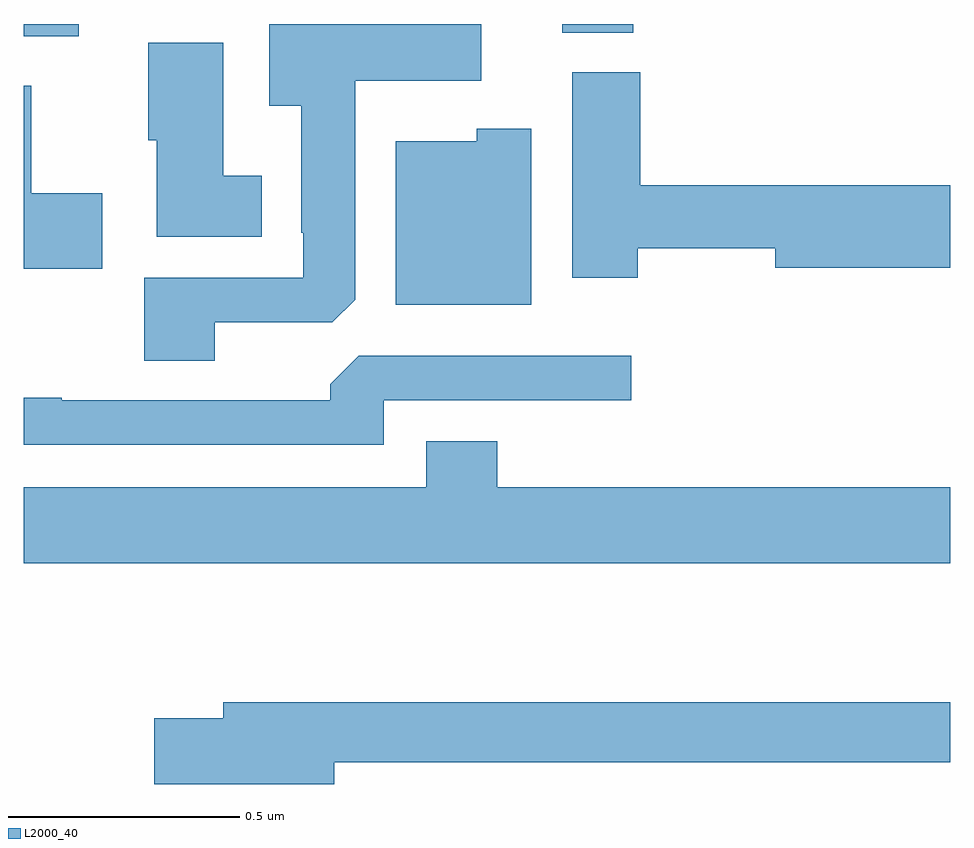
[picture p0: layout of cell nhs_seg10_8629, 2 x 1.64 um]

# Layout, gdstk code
import gdstk
lib = gdstk.Library(unit=1e-6, precision=1e-09)
def R(c, l, rs):  # rectangles x0, y0, x1, y1
    for r in rs: c.add(gdstk.rectangle(r[:2], r[2:], *l))
def P(c, l, *ps):  # polygons
    for p in ps: c.add(gdstk.Polygon(p, *l))
L2000_40 = (2000, 40)

nhs_seg10_8629 = lib.new_cell('nhs_seg10_8629')
R(nhs_seg10_8629, L2000_40, [(219,1281.474,219.118,1281.5), (220.163,1281.481,220.316,1281.5)])
P(nhs_seg10_8629, L2000_40, [(219.412,1280.856),(219.666,1280.856),(219.715,1280.905),(219.715,1281.377),(219.988,1281.377),(219.988,1281.499),(219.715,1281.499),(219.715,1281.5),(219.53,1281.5),(219.53,1281.323),(219.599,1281.323),(219.599,1281.049),(219.603,1281.049),(219.603,1280.952),(219.26,1280.952),(219.26,1280.773),(219.412,1280.773)],
  [(219.514,1281.172),(219.43,1281.172),(219.43,1281.46),(219.269,1281.46),(219.269,1281.249),(219.287,1281.249),(219.287,1281.041),(219.514,1281.041)],
  [(220.326,1281.016),(220.622,1281.016),(220.622,1280.974),(221,1280.974),(221,1281.152),(220.331,1281.152),(220.331,1281.396),(220.184,1281.396),(220.184,1280.952),(220.326,1280.952)],
  [(219.169,1281.135),(219.016,1281.135),(219.016,1281.367),(219,1281.367),(219,1280.972),(219.169,1280.972)],
  [(220.096,1281.274),(219.978,1281.274),(219.978,1281.247),(219.803,1281.247),(219.803,1280.894),(220.096,1280.894)],
  [(219.777,1280.688),(220.312,1280.688),(220.312,1280.784),(219.723,1280.784),(219.662,1280.722),(219.662,1280.688),(219.082,1280.688),(219.082,1280.693),(219,1280.693),(219,1280.592),(219.777,1280.592)],
  [(221,1280.5),(220.022,1280.5),(220.022,1280.599),(219.869,1280.599),(219.869,1280.5),(219,1280.5),(219,1280.336),(221,1280.336)],
  [(219.67,1279.906),(221,1279.906),(221,1280.035),(219.431,1280.035),(219.431,1280.001),(219.282,1280.001),(219.282,1279.859),(219.67,1279.859)])

lib.write_gds('nhs_seg10_8629.gds')
